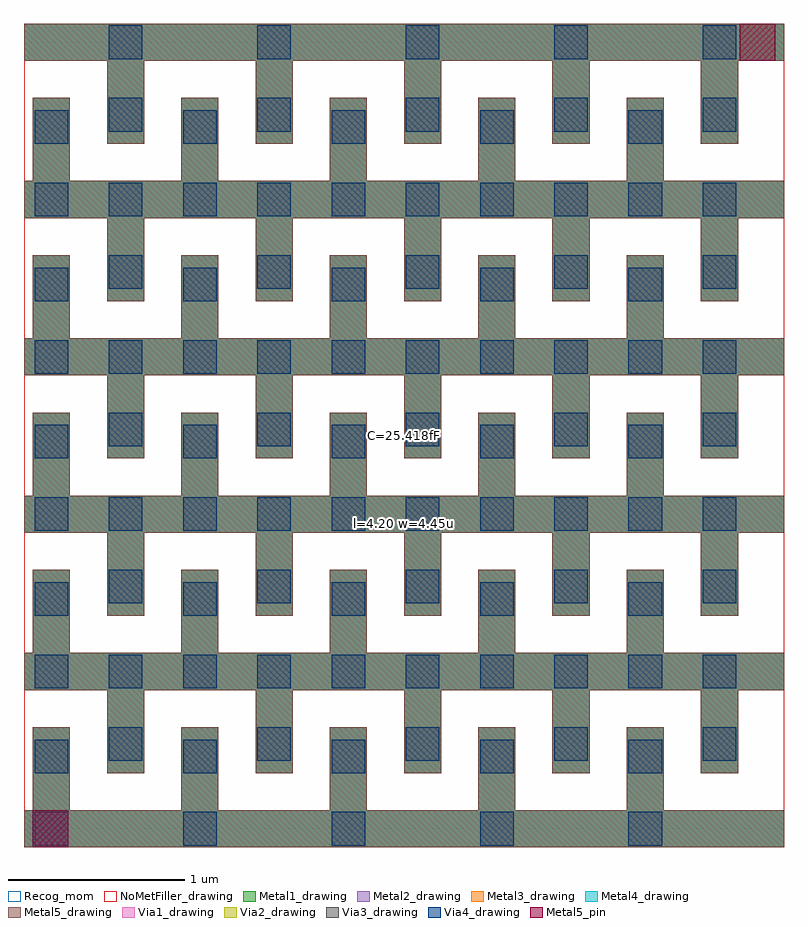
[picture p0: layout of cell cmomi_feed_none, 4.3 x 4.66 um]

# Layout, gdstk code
import gdstk
lib = gdstk.Library(unit=1e-6, precision=1e-09)
def R(c, l, rs):  # rectangles x0, y0, x1, y1
    for r in rs: c.add(gdstk.rectangle(r[:2], r[2:], *l))
def A(c, l, x, y, w, h, nx, ny, dx, dy):  # array of equal rectangles
    R(c, l, [(x+i*dx, y+j*dy, x+i*dx+w, y+j*dy+h) for i in range(nx) for j in range(ny)])
Metal1_drawing = (8, 0)
Metal2_drawing = (10, 0)
Via1_drawing = (19, 0)
Via2_drawing = (29, 0)
Metal3_drawing = (30, 0)
Via3_drawing = (49, 0)
Metal4_drawing = (50, 0)
Via4_drawing = (66, 0)
Metal5_drawing = (67, 0)
Metal5_pin = (67, 2)
Recog_mom = (99, 39)
NoMetFiller_drawing = (160, 0)

cmomi_feed_none = lib.new_cell('cmomi_feed_none')
A(cmomi_feed_none, Metal1_drawing, -2.15, -2.33, 4.3, 0.21, 1, 6, 0, 0.89)
A(cmomi_feed_none, Metal1_drawing, -2.1, -2.225, 0.21, 0.575, 5, 5, 0.84, 0.89)
A(cmomi_feed_none, Metal1_drawing, -1.68, -1.91, 0.21, 0.575, 5, 5, 0.84, 0.89)
A(cmomi_feed_none, Metal2_drawing, -2.15, -2.33, 4.3, 0.21, 1, 6, 0, 0.89)
A(cmomi_feed_none, Metal2_drawing, -2.1, -2.225, 0.21, 0.575, 5, 5, 0.84, 0.89)
A(cmomi_feed_none, Metal2_drawing, -1.68, -1.91, 0.21, 0.575, 5, 5, 0.84, 0.89)
A(cmomi_feed_none, Via1_drawing, -2.09, -2.32, 0.19, 0.19, 5, 2, 0.84, 0.41)
A(cmomi_feed_none, Via1_drawing, -1.67, -1.84, 0.19, 0.19, 5, 5, 0.84, 0.89)
A(cmomi_feed_none, Via1_drawing, -2.09, -1.43, 0.19, 0.19, 10, 4, 0.42, 0.89)
A(cmomi_feed_none, Via1_drawing, -2.09, -1.02, 0.19, 0.19, 5, 4, 0.84, 0.89)
A(cmomi_feed_none, Via1_drawing, -1.67, 2.13, 0.19, 0.19, 5, 1, 0.84, 0)
A(cmomi_feed_none, Via2_drawing, -2.09, -2.32, 0.19, 0.19, 5, 2, 0.84, 0.41)
A(cmomi_feed_none, Via2_drawing, -1.67, -1.84, 0.19, 0.19, 5, 5, 0.84, 0.89)
A(cmomi_feed_none, Via2_drawing, -2.09, -1.43, 0.19, 0.19, 10, 4, 0.42, 0.89)
A(cmomi_feed_none, Via2_drawing, -2.09, -1.02, 0.19, 0.19, 5, 4, 0.84, 0.89)
A(cmomi_feed_none, Via2_drawing, -1.67, 2.13, 0.19, 0.19, 5, 1, 0.84, 0)
A(cmomi_feed_none, Metal3_drawing, -2.15, -2.33, 4.3, 0.21, 1, 6, 0, 0.89)
A(cmomi_feed_none, Metal3_drawing, -2.1, -2.225, 0.21, 0.575, 5, 5, 0.84, 0.89)
A(cmomi_feed_none, Metal3_drawing, -1.68, -1.91, 0.21, 0.575, 5, 5, 0.84, 0.89)
A(cmomi_feed_none, Via3_drawing, -2.09, -2.32, 0.19, 0.19, 5, 2, 0.84, 0.41)
A(cmomi_feed_none, Via3_drawing, -1.67, -1.84, 0.19, 0.19, 5, 5, 0.84, 0.89)
A(cmomi_feed_none, Via3_drawing, -2.09, -1.43, 0.19, 0.19, 10, 4, 0.42, 0.89)
A(cmomi_feed_none, Via3_drawing, -2.09, -1.02, 0.19, 0.19, 5, 4, 0.84, 0.89)
A(cmomi_feed_none, Via3_drawing, -1.67, 2.13, 0.19, 0.19, 5, 1, 0.84, 0)
A(cmomi_feed_none, Metal4_drawing, -2.15, -2.33, 4.3, 0.21, 1, 6, 0, 0.89)
A(cmomi_feed_none, Metal4_drawing, -2.1, -2.225, 0.21, 0.575, 5, 5, 0.84, 0.89)
A(cmomi_feed_none, Metal4_drawing, -1.68, -1.91, 0.21, 0.575, 5, 5, 0.84, 0.89)
A(cmomi_feed_none, Via4_drawing, -2.09, -2.32, 0.19, 0.19, 5, 2, 0.84, 0.41)
A(cmomi_feed_none, Via4_drawing, -1.67, -1.84, 0.19, 0.19, 5, 5, 0.84, 0.89)
A(cmomi_feed_none, Via4_drawing, -2.09, -1.43, 0.19, 0.19, 10, 4, 0.42, 0.89)
A(cmomi_feed_none, Via4_drawing, -2.09, -1.02, 0.19, 0.19, 5, 4, 0.84, 0.89)
A(cmomi_feed_none, Via4_drawing, -1.67, 2.13, 0.19, 0.19, 5, 1, 0.84, 0)
A(cmomi_feed_none, Metal5_drawing, -2.15, -2.33, 4.3, 0.21, 1, 6, 0, 0.89)
A(cmomi_feed_none, Metal5_drawing, -2.1, -2.225, 0.21, 0.575, 5, 5, 0.84, 0.89)
A(cmomi_feed_none, Metal5_drawing, -1.68, -1.91, 0.21, 0.575, 5, 5, 0.84, 0.89)
R(cmomi_feed_none, Metal5_pin, [(-2.1,-2.33,-1.9,-2.12), (1.9,2.12,2.1,2.33)])
R(cmomi_feed_none, Recog_mom, [(-2.15,-2.225,2.15,2.225)])
R(cmomi_feed_none, NoMetFiller_drawing, [(-2.15,-2.225,2.15,2.225)])
cmomi_feed_none.add(gdstk.Label('C=25.418fF', (0,0), layer=63, texttype=0))
cmomi_feed_none.add(gdstk.Label('cap_cmomi', (0,0), layer=63, texttype=0))
cmomi_feed_none.add(gdstk.Label('l=4.20 w=4.45u', (0,-0.5), layer=63, texttype=0))

lib.write_gds('cmomi_feed_none.gds')
